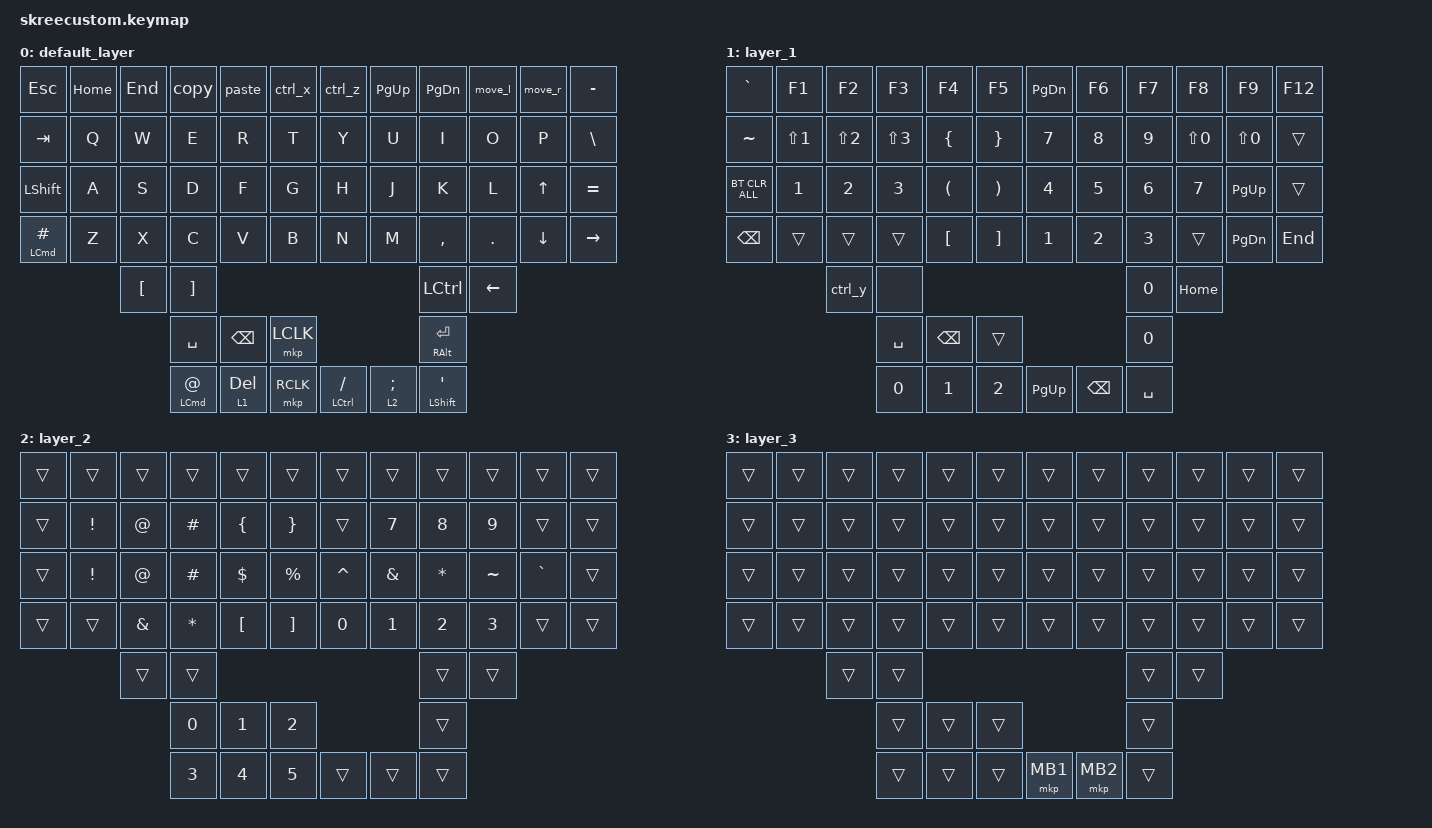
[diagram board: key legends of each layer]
/*
 * Copyright (c) 2020 The ZMK Contributors
 *
 * SPDX-License-Identifier: MIT
 */

#include <input/processors.dtsi>
#include <dt-bindings/zmk/input_transform.h>
#include <behaviors.dtsi>
#include <dt-bindings/zmk/bt.h>
#include <dt-bindings/zmk/keys.h>
#include <dt-bindings/zmk/pointing.h>

&mt {
    flavor = "tap-unless-interrupted";
    tapping-term-ms = <2000>;
};

/ {
    behaviors {
        hold_tap_orig: hold_tap_orig {
            compatible = "zmk,behavior-hold-tap";
            label = "HOLD_TAP_ORIG";
            bindings = <&kp>, <&kp>;

            #binding-cells = <2>;
            tapping-term-ms = <150>;
        };

        star_power: star_power {
            compatible = "zmk,behavior-mod-morph";
            label = "STAR_POWER";
            bindings = <&kp ASTERISK>, <&kp CARET>;

            #binding-cells = <0>;
            mods = <(MOD_LSFT)>;
        };

        excl_and: excl_and {
            compatible = "zmk,behavior-mod-morph";
            label = "EXCL_AND";
            bindings = <&kp AMPERSAND>, <&kp EXCLAMATION>;

            #binding-cells = <0>;
            mods = <(MOD_LSFT)>;
        };

        at_hash: at_hash {
            compatible = "zmk,behavior-mod-morph";
            label = "AT_HASH";
            bindings = <&kp AT_SIGN>, <&kp HASH>;

            #binding-cells = <0>;
            mods = <(MOD_LSFT)>;
        };

        dollar_percent: dollar_percent {
            compatible = "zmk,behavior-mod-morph";
            label = "DOLLAR_PERCENT";
            bindings = <&kp DOLLAR>, <&kp PERCENT>;

            #binding-cells = <0>;
            mods = <(MOD_LSFT)>;
        };

        symbol12: symbol12 {
            compatible = "zmk,behavior-mod-morph";
            label = "SYMBOL12";
            bindings = <&kp EXCLAMATION>, <&kp AT_SIGN>;

            #binding-cells = <0>;
            mods = <(MOD_LSFT)>;
        };

        symbol34: symbol34 {
            compatible = "zmk,behavior-mod-morph";
            label = "SYMBOL34";
            bindings = <&kp HASH>, <&kp DOLLAR>;

            #binding-cells = <0>;
            mods = <(MOD_LSFT)>;
        };

        symbol56: symbol56 {
            compatible = "zmk,behavior-mod-morph";
            label = "SYMBOL56";
            bindings = <&kp PERCENT>, <&kp CARET>;

            #binding-cells = <0>;
            mods = <(MOD_LSFT)>;
        };

        symbol78: symbol78 {
            compatible = "zmk,behavior-mod-morph";
            label = "SYMBOL78";
            bindings = <&kp AMPERSAND>, <&kp ASTERISK>;

            #binding-cells = <0>;
            mods = <(MOD_LSFT)>;
        };

        symbol00: symbol00 {
            compatible = "zmk,behavior-mod-morph";
            label = "SYMBOL00";
            bindings = <&kp GRAVE>, <&kp TILDE>;

            #binding-cells = <0>;
            mods = <(MOD_LSFT)>;
        };
    };

    macros {
        copy: copy {
            compatible = "zmk,behavior-macro";
            #binding-cells = <0>;
            bindings =
                <&macro_press>,
                <&kp LEFT_COMMAND>,
                <&macro_tap>,
                <&kp C>,
                <&macro_release>,
                <&kp LEFT_COMMAND>;

            label = "COPY";
        };

        paste: paste {
            compatible = "zmk,behavior-macro";
            #binding-cells = <0>;
            bindings =
                <&macro_press>,
                <&kp LEFT_COMMAND>,
                <&macro_tap>,
                <&kp V>,
                <&macro_release>,
                <&kp LEFT_COMMAND>;

            label = "PASTE";
        };

        ctrl_click: ctrl_click {
            compatible = "zmk,behavior-macro";
            #binding-cells = <0>;
            bindings =
                <&macro_press>,
                <&kp LEFT_COMMAND>,
                <&macro_tap>,
                <&mkp LCLK>,
                <&macro_release>,
                <&kp LEFT_COMMAND>;

            label = "CTRL_CLICK";
        };

        ctrl_x: ctrl_x {
            compatible = "zmk,behavior-macro";
            #binding-cells = <0>;
            bindings =
                <&macro_press>,
                <&kp LEFT_COMMAND>,
                <&macro_tap>,
                <&kp X>,
                <&macro_release>,
                <&kp LEFT_COMMAND>;

            label = "CTRL_X";
        };

        ctrl_z: ctrl_z {
            compatible = "zmk,behavior-macro";
            #binding-cells = <0>;
            bindings =
                <&macro_press>,
                <&kp LEFT_COMMAND>,
                <&macro_tap>,
                <&kp Z>,
                <&macro_release>,
                <&kp LEFT_COMMAND>;

            label = "CTRL_Z";
        };

        ctrl_y: ctrl_y {
            compatible = "zmk,behavior-macro";
            #binding-cells = <0>;
            bindings =
                <&macro_press>,
                <&kp LEFT_COMMAND>,
                <&macro_tap>,
                <&kp Y>,
                <&macro_release>,
                <&kp LEFT_COMMAND>;

            label = "CTRL_Y";
        };

        ctrl_caret: ctrl_caret {
            compatible = "zmk,behavior-macro";
            #binding-cells = <0>;
            bindings =
                <&macro_press>,
                <&kp LEFT_COMMAND>,
                <&macro_tap>,
                <&kp GRAVE>,
                <&macro_release>,
                <&kp LEFT_COMMAND>;

            label = "CTRL_CARET";
        };

        move_l: move_l {
            compatible = "zmk,behavior-macro";
            #binding-cells = <0>;
            bindings =
                <&macro_press>,
                <&kp LCTRL &kp LEFT_ALT>,
                <&macro_tap>,
                <&kp LEFT_ARROW>,
                <&macro_release>,
                <&kp LCTRL &kp LEFT_ALT>;

            label = "MOVE_L";
        };

        move_r: move_r {
            compatible = "zmk,behavior-macro";
            #binding-cells = <0>;
            bindings =
                <&macro_press>,
                <&kp LCTRL &kp LEFT_ALT>,
                <&macro_tap>,
                <&kp RIGHT>,
                <&macro_release>,
                <&kp LCTRL &kp LEFT_ALT>;

            label = "MOVE_R";
        };
    };

    keymap {
        compatible = "zmk,keymap";

        default_layer {
            bindings = <
&kp ESC                &kp HOME  &kp END           &copy                     &paste         &ctrl_x      &ctrl_z                 &kp PG_UP        &kp PG_DN            &move_l   &move_r       &kp MINUS
&kp TAB                &kp Q     &kp W             &kp E                     &kp R          &kp T        &kp Y                   &kp U            &kp I                &kp O     &kp P         &kp BACKSLASH
&kp LEFT_SHIFT         &kp A     &kp S             &kp D                     &kp F          &kp G        &kp H                   &kp J            &kp K                &kp L     &kp UP_ARROW  &kp EQUAL
&mt LEFT_COMMAND HASH  &kp Z     &kp X             &kp C                     &kp V          &kp B        &kp N                   &kp M            &kp COMMA            &kp DOT   &kp DOWN      &kp RIGHT
                                 &kp LEFT_BRACKET  &kp RIGHT_BRACKET                                                                              &kp LEFT_CONTROL     &kp LEFT
                                                   &kp SPACE                 &kp BACKSPACE  &mkp LCLK                                             &mt RIGHT_ALT ENTER
                                                   &mt LEFT_COMMAND AT_SIGN  &lt 1 DEL      &mkp RCLK    &mt LEFT_CONTROL SLASH  &lt 2 SEMICOLON  &mt LEFT_SHIFT SQT
            >;
        };

        layer_1 {
            bindings = <
&kp GRAVE       &kp F1            &kp F2            &kp F3            &kp F4                &kp F5                   &kp PAGE_DOWN  &kp F6         &kp F7        &kp F8      &kp F9         &kp F12
&kp TILDE       &kp LS(NUMBER_1)  &kp LS(NUMBER_2)  &kp LS(NUMBER_3)  &kp LEFT_BRACE        &kp RIGHT_BRACE          &kp N7         &kp N8         &kp N9        &kp LS(N0)  &kp LS(N0)     &trans
&bt BT_CLR_ALL  &kp NUMBER_1      &kp NUMBER_2      &kp NUMBER_3      &kp LEFT_PARENTHESIS  &kp RIGHT_PARENTHESIS    &kp NUMBER_4   &kp N5         &kp NUMBER_6  &kp N7      &kp PG_UP      &trans
&kp BACKSPACE   &trans            &trans            &trans            &kp LEFT_BRACKET      &kp RIGHT_BRACKET        &kp NUMBER_1   &kp NUMBER_2   &kp NUMBER_3  &trans      &kp PAGE_DOWN  &kp END
                                  &ctrl_y           &none                                                                                          &kp N0        &kp HOME
                                                    &kp SPACE         &kp BACKSPACE         &trans                                                 &kp N0
                                                    &kp N0            &kp NUMBER_1          &kp NUMBER_2             &kp PG_UP      &kp BACKSPACE  &kp SPACE
            >;
        };

        layer_2 {
            bindings = <
&trans  &trans           &trans         &trans        &trans            &trans               &trans     &trans         &trans        &trans        &trans     &trans
&trans  &kp EXCLAMATION  &kp AT_SIGN    &kp HASH      &kp LEFT_BRACE    &kp RIGHT_BRACE      &trans     &kp N7         &kp N8        &kp N9        &trans     &trans
&trans  &kp EXCLAMATION  &kp AT_SIGN    &kp HASH      &kp DOLLAR        &kp PERCENT          &kp CARET  &kp AMPERSAND  &kp ASTERISK  &kp TILDE     &kp GRAVE  &trans
&trans  &trans           &kp AMPERSAND  &kp ASTERISK  &kp LEFT_BRACKET  &kp RIGHT_BRACKET    &kp N0     &kp NUMBER_1   &kp NUMBER_2  &kp NUMBER_3  &trans     &trans
                         &trans         &trans                                                                         &trans        &trans
                                        &kp N0        &kp NUMBER_1      &kp NUMBER_2                                   &trans
                                        &kp NUMBER_3  &kp NUMBER_4      &kp N5               &trans     &trans         &trans
            >;
        };

        layer_3 {
            bindings = <
&trans  &trans  &trans  &trans  &trans  &trans    &trans    &trans    &trans  &trans  &trans  &trans
&trans  &trans  &trans  &trans  &trans  &trans    &trans    &trans    &trans  &trans  &trans  &trans
&trans  &trans  &trans  &trans  &trans  &trans    &trans    &trans    &trans  &trans  &trans  &trans
&trans  &trans  &trans  &trans  &trans  &trans    &trans    &trans    &trans  &trans  &trans  &trans
                &trans  &trans                                        &trans  &trans
                        &trans  &trans  &trans                        &trans
                        &trans  &trans  &trans    &mkp MB1  &mkp MB2  &trans
            >;
        };
    };
};

// //right hand trackball overrides
// &trackball_peripheral_listener {
//     input-processors =
//         <&zip_xy_transform INPUT_TRANSFORM_XY_SWAP>,//this gets it to the default installation orientation
//         <&zip_temp_layer 3 500>;//activate layer 3 within 500ms of the trackball moving
// };
// //left hand trackball overrides
// &trackball_central_listener {
//     input-processors = 
//         <&zip_xy_transform INPUT_TRANSFORM_XY_SWAP>,//this gets it to the default installation orientation
//         <&zip_xy_scaler 1 3>,//multiply sensitivity by 1, divide by 3 (make it slower for scrolling)
//         <&zip_xy_to_scroll_mapper>,//make this trackball output scrolling events by default instead of cursor movement
//         <&zip_scroll_transform INPUT_TRANSFORM_Y_INVERT>;//invert vertical scrolling so that the view moves in the same direction as the top of the trackball.
// };
